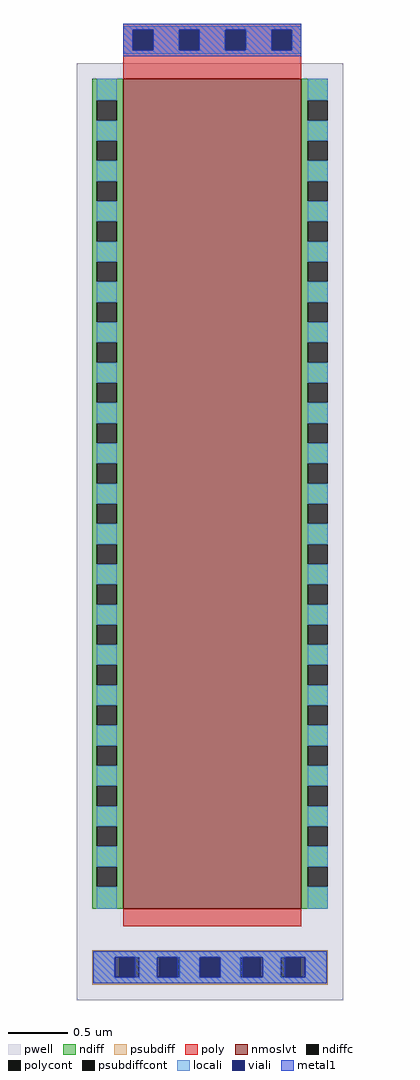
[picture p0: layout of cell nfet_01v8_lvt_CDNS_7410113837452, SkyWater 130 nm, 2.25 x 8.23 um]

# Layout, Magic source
magic
tech sky130A
magscale 1 2
<< pwell >>
rect -79 -154 371 1426
<< nmoslvt >>
rect 0 0 300 1400
<< ndiff >>
rect -53 1363 0 1400
rect -53 1329 -45 1363
rect -11 1329 0 1363
rect -53 1295 0 1329
rect -53 1261 -45 1295
rect -11 1261 0 1295
rect -53 1227 0 1261
rect -53 1193 -45 1227
rect -11 1193 0 1227
rect -53 1159 0 1193
rect -53 1125 -45 1159
rect -11 1125 0 1159
rect -53 1091 0 1125
rect -53 1057 -45 1091
rect -11 1057 0 1091
rect -53 1023 0 1057
rect -53 989 -45 1023
rect -11 989 0 1023
rect -53 955 0 989
rect -53 921 -45 955
rect -11 921 0 955
rect -53 887 0 921
rect -53 853 -45 887
rect -11 853 0 887
rect -53 819 0 853
rect -53 785 -45 819
rect -11 785 0 819
rect -53 751 0 785
rect -53 717 -45 751
rect -11 717 0 751
rect -53 683 0 717
rect -53 649 -45 683
rect -11 649 0 683
rect -53 615 0 649
rect -53 581 -45 615
rect -11 581 0 615
rect -53 547 0 581
rect -53 513 -45 547
rect -11 513 0 547
rect -53 479 0 513
rect -53 445 -45 479
rect -11 445 0 479
rect -53 411 0 445
rect -53 377 -45 411
rect -11 377 0 411
rect -53 343 0 377
rect -53 309 -45 343
rect -11 309 0 343
rect -53 275 0 309
rect -53 241 -45 275
rect -11 241 0 275
rect -53 207 0 241
rect -53 173 -45 207
rect -11 173 0 207
rect -53 139 0 173
rect -53 105 -45 139
rect -11 105 0 139
rect -53 71 0 105
rect -53 37 -45 71
rect -11 37 0 71
rect -53 0 0 37
rect 300 1363 345 1400
rect 300 1329 311 1363
rect 300 1295 345 1329
rect 300 1261 311 1295
rect 300 1227 345 1261
rect 300 1193 311 1227
rect 300 1159 345 1193
rect 300 1125 311 1159
rect 300 1091 345 1125
rect 300 1057 311 1091
rect 300 1023 345 1057
rect 300 989 311 1023
rect 300 955 345 989
rect 300 921 311 955
rect 300 887 345 921
rect 300 853 311 887
rect 300 819 345 853
rect 300 785 311 819
rect 300 751 345 785
rect 300 717 311 751
rect 300 683 345 717
rect 300 649 311 683
rect 300 615 345 649
rect 300 581 311 615
rect 300 547 345 581
rect 300 513 311 547
rect 300 479 345 513
rect 300 445 311 479
rect 300 411 345 445
rect 300 377 311 411
rect 300 343 345 377
rect 300 309 311 343
rect 300 275 345 309
rect 300 241 311 275
rect 300 207 345 241
rect 300 173 311 207
rect 300 139 345 173
rect 300 105 311 139
rect 300 71 345 105
rect 300 37 311 71
rect 300 0 345 37
<< ndiffc >>
rect -45 1329 -11 1363
rect -45 1261 -11 1295
rect -45 1193 -11 1227
rect -45 1125 -11 1159
rect -45 1057 -11 1091
rect -45 989 -11 1023
rect -45 921 -11 955
rect -45 853 -11 887
rect -45 785 -11 819
rect -45 717 -11 751
rect -45 649 -11 683
rect -45 581 -11 615
rect -45 513 -11 547
rect -45 445 -11 479
rect -45 377 -11 411
rect -45 309 -11 343
rect -45 241 -11 275
rect -45 173 -11 207
rect -45 105 -11 139
rect -45 37 -11 71
rect 311 1329 345 1363
rect 311 1261 345 1295
rect 311 1193 345 1227
rect 311 1125 345 1159
rect 311 1057 345 1091
rect 311 989 345 1023
rect 311 921 345 955
rect 311 853 345 887
rect 311 785 345 819
rect 311 717 345 751
rect 311 649 345 683
rect 311 581 345 615
rect 311 513 345 547
rect 311 445 345 479
rect 311 377 345 411
rect 311 309 345 343
rect 311 241 345 275
rect 311 173 345 207
rect 311 105 345 139
rect 311 37 345 71
<< psubdiff >>
rect -53 -82 345 -70
rect -53 -116 -7 -82
rect 27 -116 61 -82
rect 95 -116 129 -82
rect 163 -116 197 -82
rect 231 -116 265 -82
rect 299 -116 345 -82
rect -53 -128 345 -116
<< psubdiffcont >>
rect -7 -116 27 -82
rect 61 -116 95 -82
rect 129 -116 163 -82
rect 197 -116 231 -82
rect 265 -116 299 -82
<< poly >>
rect 0 1482 300 1492
rect 0 1448 16 1482
rect 50 1448 94 1482
rect 128 1448 172 1482
rect 206 1448 250 1482
rect 284 1448 300 1482
rect 0 1400 300 1448
rect 0 -30 300 0
<< polycont >>
rect 16 1448 50 1482
rect 94 1448 128 1482
rect 172 1448 206 1482
rect 250 1448 284 1482
<< locali >>
rect 0 1482 300 1488
rect 0 1448 16 1482
rect 50 1448 94 1482
rect 128 1448 172 1482
rect 206 1448 250 1482
rect 284 1448 300 1482
rect 0 1442 300 1448
rect -45 1363 -11 1400
rect -45 1295 -11 1329
rect -45 1227 -11 1261
rect -45 1159 -11 1193
rect -45 1091 -11 1125
rect -45 1023 -11 1057
rect -45 955 -11 989
rect -45 887 -11 921
rect -45 819 -11 853
rect -45 751 -11 785
rect -45 683 -11 717
rect -45 615 -11 649
rect -45 547 -11 581
rect -45 479 -11 513
rect -45 411 -11 445
rect -45 343 -11 377
rect -45 275 -11 309
rect -45 207 -11 241
rect -45 139 -11 173
rect -45 71 -11 105
rect -45 0 -11 37
rect 311 1363 345 1400
rect 311 1295 345 1329
rect 311 1227 345 1261
rect 311 1159 345 1193
rect 311 1091 345 1125
rect 311 1023 345 1057
rect 311 955 345 989
rect 311 887 345 921
rect 311 819 345 853
rect 311 751 345 785
rect 311 683 345 717
rect 311 615 345 649
rect 311 547 345 581
rect 311 479 345 513
rect 311 411 345 445
rect 311 343 345 377
rect 311 275 345 309
rect 311 207 345 241
rect 311 139 345 173
rect 311 71 345 105
rect 311 0 345 37
rect -51 -82 343 -72
rect -51 -116 -15 -82
rect 27 -116 57 -82
rect 95 -116 129 -82
rect 163 -116 197 -82
rect 235 -116 265 -82
rect 307 -116 343 -82
rect -51 -126 343 -116
<< viali >>
rect 16 1448 50 1482
rect 94 1448 128 1482
rect 172 1448 206 1482
rect 250 1448 284 1482
rect -15 -116 -7 -82
rect -7 -116 19 -82
rect 57 -116 61 -82
rect 61 -116 91 -82
rect 129 -116 163 -82
rect 201 -116 231 -82
rect 231 -116 235 -82
rect 273 -116 299 -82
rect 299 -116 307 -82
<< metal1 >>
rect 0 1482 300 1492
rect 0 1448 16 1482
rect 50 1448 94 1482
rect 128 1448 172 1482
rect 206 1448 250 1482
rect 284 1448 300 1482
rect 0 1438 300 1448
rect -51 -82 343 -72
rect -51 -116 -15 -82
rect 19 -116 57 -82
rect 91 -116 129 -82
rect 163 -116 201 -82
rect 235 -116 273 -82
rect 307 -116 343 -82
rect -51 -126 343 -116
<< end >>
